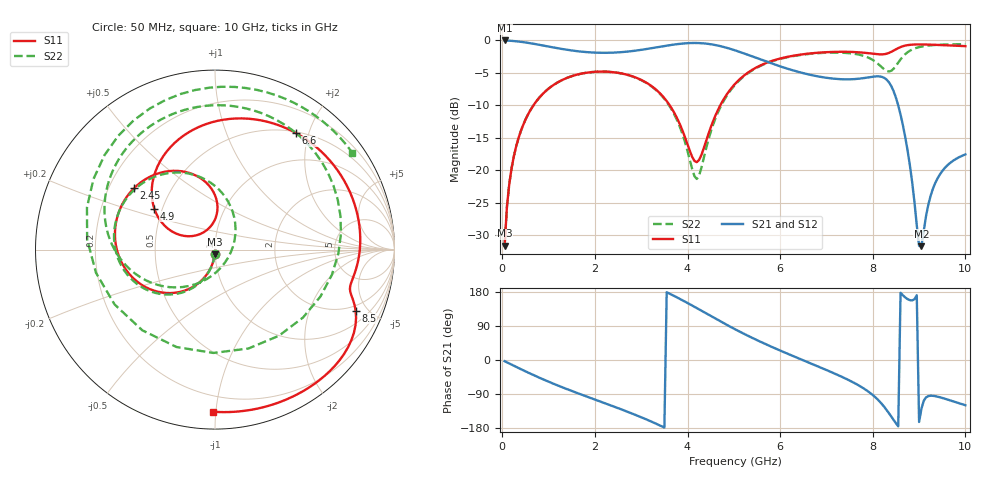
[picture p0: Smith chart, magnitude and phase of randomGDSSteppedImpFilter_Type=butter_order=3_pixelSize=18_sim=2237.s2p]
! freq	dB(S11)	phase(S11)	dB(S12)	phase(S12)
!  dB(S21)	phase(S21)	dB(S22)	phase(S22)
!S-par simulation data
#  GHz  S  DB  R 50
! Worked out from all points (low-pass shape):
!   200 points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, 50 MHz to 10 GHz, reference 50 ohm
!   highest |S21| = -0.01 dB at 50 MHz (marker M1); lowest = -31.7 dB at 9.05 GHz (marker M2)
!   |S21| within 3 dB of the highest: start of sweep to 5.603 GHz
!   lowest |S11| = -31.7 dB at 50 MHz (marker M3), VSWR 1.05, Z = 49.8 - j2.6 ohm
!   |S11| at or under -10 dB: start of sweep to 673.8 MHz; 3.614 GHz to 4.708 GHz (1.093 GHz wide, 26.3 % of centre)
!   |S22| runs from -31.7 to -0.6 dB; largest |S21 - S12| = 0
!   S11 on the Smith chart (normalised r, x): 50 MHz: 1.00, -0.05; 2.45 GHz: 0.31, +0.31; 4.9 GHz: 0.45, +0.25; 6.6 GHz: 0.52, +1.80; 8.5 GHz: 1.66, -4.18; 10 GHz: 0.10, -0.98
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0.05  -31.65 -93.3  -0.01 -3.1  -0.01 -3.1  -31.65 -93.2
0.2  -19.72 -102.9  -0.07 -12.2  -0.07 -12.2  -19.72 -102.4
0.5  -12.22 -121.1  -0.31 -29.9  -0.31 -29.9  -12.22 -119.9
1.05  -7.15 -151.5  -1.01 -59.8  -1.01 -59.8  -7.15 -149.1
1.75  -5.06 174.4  -1.76 -93.2  -1.76 -93.2  -5.06 178.2
2.45  -4.94 142.9  -1.86 -124.7  -1.86 -124.7  -4.95 147.1
3.4  -8.12 99.6  -0.99 -172.5  -0.99 -172.5  -8.20 96.8
4.2  -18.76 123.4  -0.40 137.0  -0.40 137.0  -21.35 -30.4
4.9  -7.79 146.0  -1.25 89.3  -1.25 89.3  -7.98 -152.4
5.05  -6.52 138.3  -1.59 79.6  -1.59 79.6  -6.65 -163.3
5.75  -3.34 99.8  -3.38 38.4  -3.38 38.4  -3.40 154.9
6.6  -2.04 55.2  -5.22 -5.9  -5.22 -5.9  -2.10 112.4
6.7  -1.97 50.1  -5.38 -11.0  -5.38 -11.0  -2.03 107.4
7.45  -1.76 13.8  -6.00 -51.2  -6.00 -51.2  -1.94 64.5
7.95  -2.01 -7.7  -5.64 -87.5  -5.64 -87.5  -2.81 15.0
8.15  -2.15 -14.0  -5.55 -109.8  -5.55 -109.8  -3.83 -24.0
8.35  -1.92 -18.5  -6.45 -140.6  -6.45 -140.6  -4.79 -90.9
8.5  -1.37 -23.5  -8.82 -166.9  -8.82 -166.9  -3.91 -151.4
8.75  -0.73 -36.3  -16.89 160.8  -16.89 160.8  -1.83 139.5
9.05  -0.62 -51.3  -31.71 -129.0  -31.71 -129.0  -0.95 97.0
9.35  -0.68 -64.7  -21.96 -95.4  -21.96 -95.4  -0.70 71.7
10  -0.88 -90.8  -17.57 -119.4  -17.57 -119.4  -0.57 35.2
